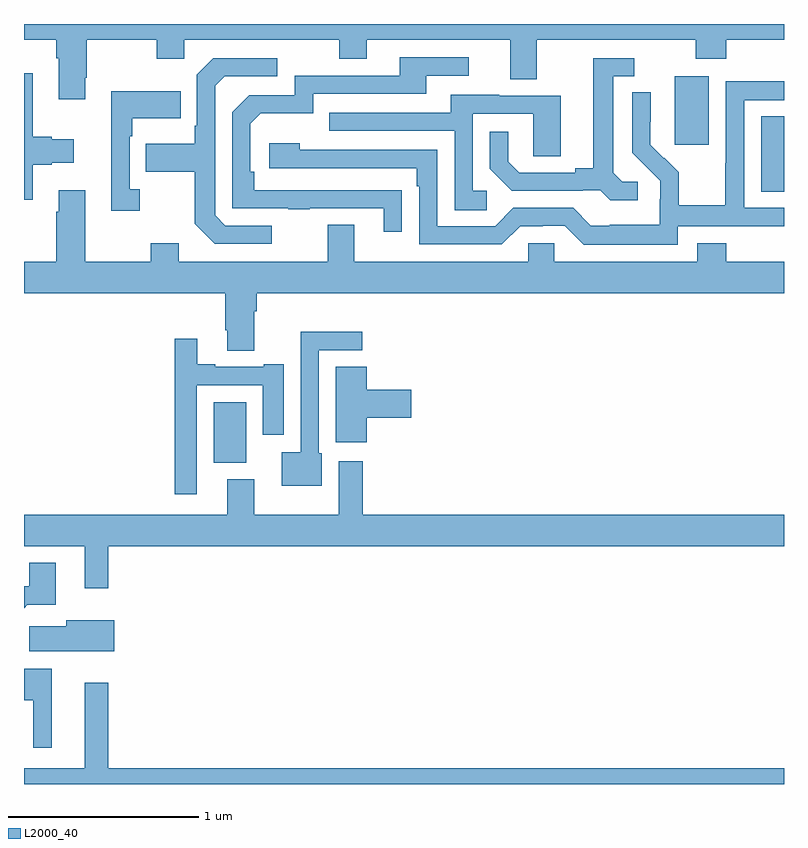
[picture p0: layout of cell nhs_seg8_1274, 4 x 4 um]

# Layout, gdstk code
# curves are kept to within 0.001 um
import gdstk
lib = gdstk.Library(unit=1e-6, precision=1e-09)
def R(c, l, rs):  # rectangles x0, y0, x1, y1
    for r in rs: c.add(gdstk.rectangle(r[:2], r[2:], *l))
def P(c, l, *ps):  # polygons
    for p in ps: c.add(gdstk.Polygon(p, *l))
L2000_40 = (2000, 40)

nhs_seg8_1274 = lib.new_cell('nhs_seg8_1274')
R(nhs_seg8_1274, L2000_40, [(191.999,1131.59,192.169,1131.91), (194.879,1133.017,195,1133.414), (194.426,1133.265,194.605,1133.626)])
P(nhs_seg8_1274, L2000_40, [(191.323,1133.617),(191.331,1133.617),(191.331,1133.816),(191.698,1133.816),(191.698,1133.717),(191.844,1133.717),(191.844,1133.816),(192.658,1133.816),(192.658,1133.717),(192.805,1133.717),(192.805,1133.816),(193.559,1133.816),(193.559,1133.608),(193.699,1133.608),(193.699,1133.816),(194.536,1133.816),(194.536,1133.717),(194.696,1133.717),(194.696,1133.816),(195,1133.816),(195,1133.9),(191,1133.9),(191,1133.816),(191.171,1133.816),(191.171,1133.72),(191.183,1133.72),(191.183,1133.505),(191.323,1133.505)],
  [(192.989,1133.024),(192.212,1133.025),(192.212,1133.122),(192.192,1133.122),(192.192,1133.376),(192.245,1133.429),(192.522,1133.429),(192.522,1133.532),(193.117,1133.532),(193.117,1133.628),(193.342,1133.628),(193.342,1133.724),(192.977,1133.724),(192.977,1133.628),(192.426,1133.628),(192.426,1133.526),(192.186,1133.526),(192.096,1133.436),(192.096,1132.929),(192.391,1132.929),(192.391,1132.924),(192.503,1132.924),(192.503,1132.929),(192.893,1132.929),(192.893,1132.806),(192.989,1132.806)],
  [(194.23,1133.07),(194.148,1133.07),(194.101,1133.117),(194.101,1133.625),(194.212,1133.625),(194.212,1133.721),(193.997,1133.721),(193.997,1133.141),(193.901,1133.141),(193.901,1133.118),(193.606,1133.118),(193.549,1133.175),(193.549,1133.332),(193.452,1133.332),(193.452,1133.138),(193.568,1133.022),(193.94,1133.022),(193.94,1133.025),(194.034,1133.025),(194.086,1132.973),(194.23,1132.973)],
  [(192.304,1132.839),(192.06,1132.839),(192.006,1132.893),(192.006,1133.574),(192.057,1133.625),(192.334,1133.625),(192.334,1133.721),(191.997,1133.721),(191.91,1133.634),(191.91,1133.365),(191.898,1133.365),(191.898,1133.269),(191.641,1133.269),(191.641,1133.122),(191.898,1133.122),(191.898,1132.849),(192.003,1132.743),(192.304,1132.743)],
  [(191.047,1133.159),(191.147,1133.159),(191.147,1133.171),(191.263,1133.171),(191.263,1133.293),(191.147,1133.293),(191.147,1133.306),(191.047,1133.306),(191.047,1133.641),(191,1133.641),(191,1132.974),(191.047,1132.974)],
  [(194.442,1132.836),(195,1132.836),(195,1132.932),(194.79,1132.932),(194.79,1133.499),(195,1133.499),(195,1133.598),(194.694,1133.598),(194.694,1133.168),(194.692,1133.168),(194.692,1132.945),(194.447,1132.945),(194.447,1133.119),(194.37,1133.196),(194.367,1133.193),(194.297,1133.264),(194.298,1133.54),(194.202,1133.54),(194.202,1133.222),(194.348,1133.074),(194.348,1132.977),(194.346,1132.977),(194.346,1132.843),(194.083,1132.843),(194.083,1132.839),(193.983,1132.839),(193.89,1132.932),(193.575,1132.932),(193.479,1132.836),(193.176,1132.836),(193.176,1133.238),(192.452,1133.238),(192.452,1133.272),(192.291,1133.272),(192.291,1133.142),(193.067,1133.142),(193.067,1133.045),(193.08,1133.045),(193.08,1132.74),(193.515,1132.74),(193.611,1132.836),(193.73,1132.836),(193.73,1132.839),(193.845,1132.839),(193.945,1132.739),(194.442,1132.739)],
  [(191.608,1133.03),(191.556,1133.03),(191.556,1133.309),(191.569,1133.309),(191.569,1133.405),(191.825,1133.405),(191.825,1133.545),(191.459,1133.545),(191.459,1132.917),(191.608,1132.917)],
  [(193.435,1133.022),(193.362,1133.022),(193.362,1133.427),(193.68,1133.427),(193.68,1133.203),(193.825,1133.203),(193.825,1133.523),(193.501,1133.523),(193.501,1133.527),(193.247,1133.527),(193.247,1133.433),(192.607,1133.433),(192.607,1133.337),(193.266,1133.337),(193.266,1132.921),(193.435,1132.921)],
  [(192.211,1132.388),(192.224,1132.388),(192.224,1132.484),(195,1132.484),(195,1132.648),(194.696,1132.648),(194.696,1132.747),(194.543,1132.747),(194.543,1132.648),(193.791,1132.648),(193.791,1132.746),(193.653,1132.746),(193.653,1132.648),(192.739,1132.648),(192.739,1132.843),(192.599,1132.843),(192.599,1132.648),(191.815,1132.648),(191.815,1132.747),(191.668,1132.747),(191.668,1132.648),(191.323,1132.648),(191.323,1133.026),(191.183,1133.026),(191.183,1132.913),(191.171,1132.913),(191.171,1132.648),(191,1132.648),(191,1132.484),(192.059,1132.484),(192.059,1132.288),(192.071,1132.288),(192.071,1132.18),(192.211,1132.18)],
  [(192.568,1131.642),(192.552,1131.642),(192.552,1132.182),(192.781,1132.182),(192.781,1132.28),(192.456,1132.28),(192.456,1131.646),(192.356,1131.646),(192.356,1131.47),(192.568,1131.47)],
  [(191.91,1131.999),(192.257,1131.999),(192.257,1131.738),(192.367,1131.738),(192.367,1132.108),(192.263,1132.108),(192.263,1132.095),(192.007,1132.095),(192.007,1132.108),(191.911,1132.108),(191.911,1132.243),(191.794,1132.243),(191.794,1131.426),(191.91,1131.426)],
  [(192.803,1131.827),(193.039,1131.827),(193.039,1131.974),(192.803,1131.974),(192.803,1132.097),(192.641,1132.097),(192.641,1131.699),(192.803,1131.699)],
  [(191.443,1131.152),(195,1131.152),(195,1131.316),(192.782,1131.316),(192.782,1131.598),(192.656,1131.598),(192.656,1131.316),(192.211,1131.316),(192.211,1131.505),(192.071,1131.505),(192.071,1131.316),(191,1131.316),(191,1131.152),(191.321,1131.152),(191.321,1130.931),(191.443,1130.931)],
  [(191.018,1130.843),(191.167,1130.843),(191.167,1131.064),(191.027,1131.064),(191.027,1130.941),(191,1130.941),(191,1130.825)],
  [(191.476,1130.761),(191.222,1130.761),(191.222,1130.729),(191.028,1130.729),(191.028,1130.6),(191.476,1130.6)],
  [(191.146,1130.506),(191,1130.506),(191,1130.342),(191.048,1130.342),(191.048,1130.091),(191.146,1130.091)],
  [(195,1129.984),(191.443,1129.984),(191.443,1130.434),(191.321,1130.434),(191.321,1129.984),(191,1129.984),(191,1129.9),(195,1129.9)])

lib.write_gds('nhs_seg8_1274.gds')
